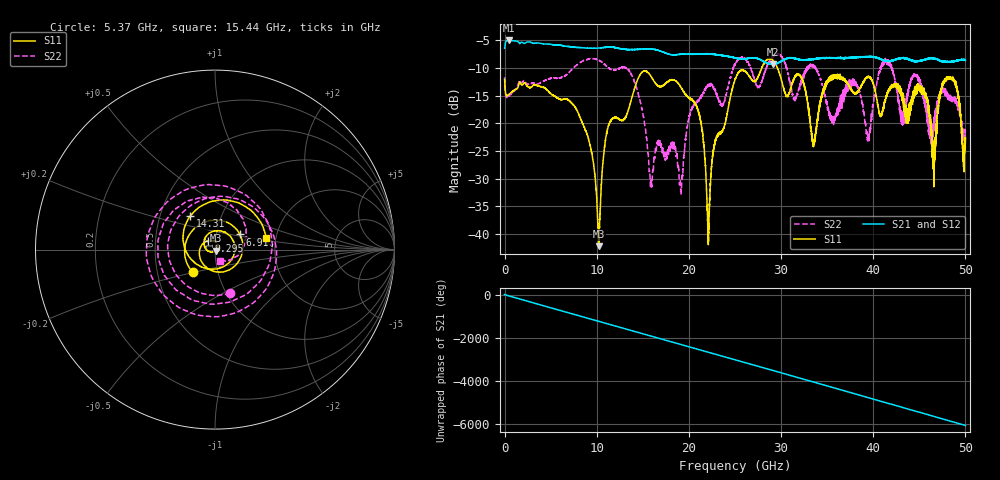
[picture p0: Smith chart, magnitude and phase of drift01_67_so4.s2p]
!Created with skrf (http://scikit-rf.org).
# Hz S RI R 50.0
!freq ReS11 ImS11 ReS21 ImS21 ReS12 ImS12 ReS22 ImS22
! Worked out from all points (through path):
!   10001 points, 300 kHz to 50 GHz, reference 50 ohm
!   highest |S21| = -5.05 dB at 445.3 MHz (marker M1); lowest = -9.4 dB at 29.12 GHz (marker M2)
!   group delay of S21, straight-line fit = 336 ps
!   lowest |S11| = -42.2 dB at 10.22 GHz (marker M3), VSWR 1.02, Z = 50.5 - j0.621 ohm
!   |S11| at or under -10 dB: start of sweep to 27.9 GHz; 29.6 GHz to end of sweep
!   |S22| runs from -32.8 to -7.5 dB; largest |S21 - S12| = 0.013
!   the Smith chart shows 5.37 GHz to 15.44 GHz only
!   S11 on the Smith chart (normalised r, x): 5.37 GHz: 0.76, -0.20; 6.91 GHz: 1.30, +0.23; 9.295 GHz: 0.92, +0.09; 14.31 GHz: 0.71, +0.28; 15.44 GHz: 1.77, +0.25
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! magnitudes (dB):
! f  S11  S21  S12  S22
! 300 kHz  -12.1  -6.5  -6.5  -11.7
! 445.3 MHz  -14.8  -5.1  -5.1  -15.1
! 5.37 GHz  -15.0  -5.9  -5.9  -11.8
! 6.91 GHz  -15.8  -6.1  -6.1  -11.0
! 8.335 GHz  -19.5  -6.4  -6.4  -8.9
! 9.295 GHz  -24.1  -6.5  -6.5  -8.4
! 10.22 GHz  -42.2  -6.4  -6.4  -8.6
! 11.23 GHz  -20.6  -6.3  -6.2  -9.9
! 14.31 GHz  -12.7  -6.7  -6.7  -13.6
! 15.44 GHz  -10.7  -6.6  -6.6  -23.0
! 16.67 GHz  -13.3  -6.9  -6.8  -23.2
! 19.14 GHz  -13.5  -7.5  -7.5  -32.7
! 20.85 GHz  -16.9  -7.6  -7.6  -16.1
! 22.11 GHz  -40.5  -7.5  -7.5  -13.3
! 25 GHz  -12.1  -8.2  -8.2  -9.4
! 29.12 GHz  -8.6  -9.4  -9.4  -8.0
! 33.34 GHz  -22.6  -8.5  -8.4  -9.6
! 39.46 GHz  -11.5  -8.0  -8.0  -22.0
! 41.67 GHz  -13.9  -8.8  -8.7  -9.4
! 46.56 GHz  -26.4  -8.3  -8.3  -21.4
! 48.55 GHz  -11.8  -8.8  -8.9  -15.9
! 50 GHz  -23.5  -8.6  -8.6  -23.0
